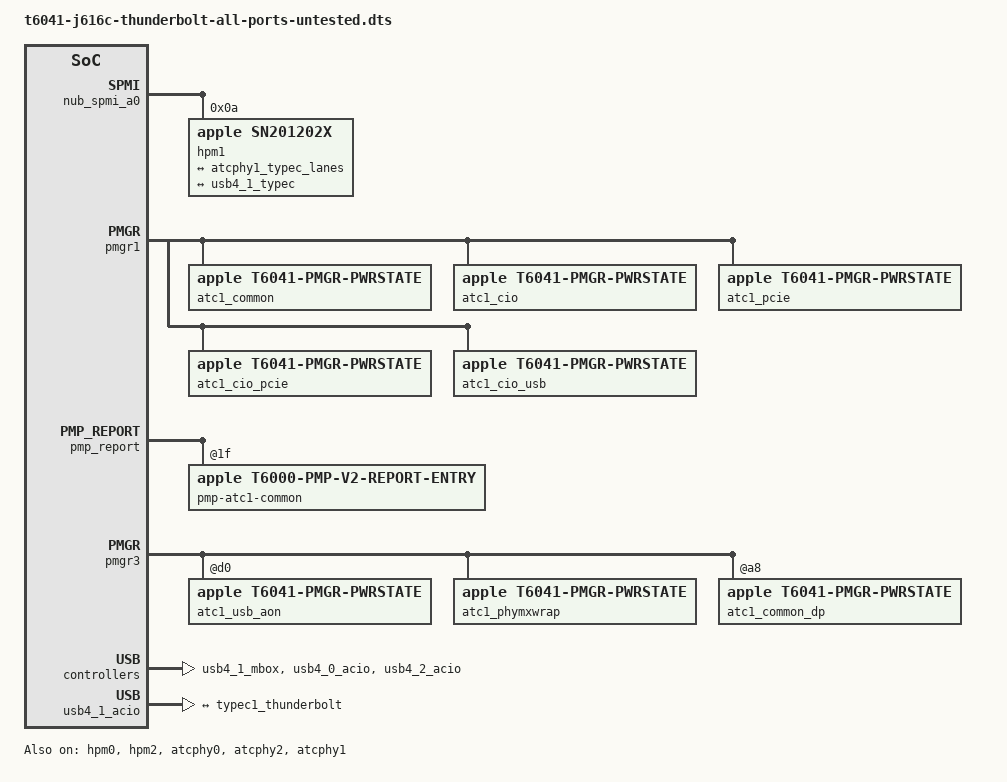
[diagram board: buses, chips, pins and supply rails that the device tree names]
// SPDX-License-Identifier: GPL-2.0+ OR MIT
/*
 * EXPERIMENTAL -- TOTALLY UNTESTED all-port Thunderbolt configuration.
 *
 * This complete DTB has NEVER been booted or hardware-validated. It enables
 * all three J616c USB-C ports, including the two ports not qualified by the
 * current Thunderbolt5 orientation/hotplug test. Controller1 resources are
 * transcribed from the captured J616c ADT; this is not runtime evidence.
 *
 * All ports are owned by Linux in this tree. No USB proxy/debug port is
 * reserved. PCIe and USB tunneling are NOT validated by this description.
 * Use t6041-j616c-usb4-validation.dtb for the tested right-port-only setup.
 * This opt-in file belongs ONLY to experimental-20261105-neo-max-bringup.
 */
#include "t6041-j616c.dts"
#include "t6041-usb4-right.dtsi"

/* Left-front Type-C controller shares NUB SPMI A0 with the left-rear port. */
&nub_spmi_a0 {
	hpm1: usb-pd@a {
		compatible = "apple,sn201202x";
		reg = <0xa SPMI_USID>;
		/* ADT: IRQ37, sleep43, wake45; select uses the same bank layout. */
		interrupts = <37 IRQ_TYPE_EDGE_RISING>,
			     <39 IRQ_TYPE_EDGE_RISING>,
			     <43 IRQ_TYPE_EDGE_RISING>,
			     <45 IRQ_TYPE_EDGE_RISING>;
		interrupt-names = "irq", "select", "sleep", "wake";
		status = "okay";

		typec1: connector {
			label = "USB-C Left-front (TOTALLY UNTESTED)";
			compatible = "usb-c-connector";
			power-role = "dual";
			data-role = "dual";
			try-power-role = "sink";
		};
	};
};

&pmgr1 {
	ps_atc1_common: power-controller@3b8 {
		compatible = "apple,t6041-pmgr-pwrstate", "apple,t8103-pmgr-pwrstate";
		reg = <0x3b8 4>;
		#power-domain-cells = <0>;
		#reset-cells = <0>;
		label = "atc1_common";
		power-domains = <&ps_fab2_soc>;
	};
};

&pmp_report {
	pmp_report_atc1: report@1f {
		compatible = "apple,t6000-pmp-v2-report-entry";
		reg = <31>;
		label = "pmp-atc1-common";
		/* The attached cable can leave PHYMXWRAP active in iBoot. */
		apple,boot-on;
		#power-domain-cells = <0>;
		power-domains = <&ps_atc1_common>;
	};
};

&pmgr3 {
	ps_atc1_usb_aon: power-controller@d0 {
		compatible = "apple,t6041-pmgr-pwrstate", "apple,t8103-pmgr-pwrstate";
		reg = <0xd0 4>;
		#power-domain-cells = <0>;
		#reset-cells = <0>;
		label = "atc1_usb_aon";
	};
	ps_atc1_phymxwrap: power-controller@158 {
		compatible = "apple,t6041-pmgr-pwrstate", "apple,t8103-pmgr-pwrstate";
		reg = <0x158 4>;
		#power-domain-cells = <0>;
		#reset-cells = <0>;
		label = "atc1_phymxwrap";
		power-domains = <&pmp_report_atc1>, <&ps_atc1_usb_aon>;
	};
	ps_atc1_common_dp: power-controller@a8 {
		compatible = "apple,t6041-pmgr-pwrstate", "apple,t8103-pmgr-pwrstate";
		reg = <0xa8 4>;
		#power-domain-cells = <0>;
		#reset-cells = <0>;
		label = "atc1_common_dp";
	};
};

&{/aliases} {
	atcphy1 = &atcphy1;
};

&{/soc} {
	acio_phy1_mbox: mailbox@38b148000 {
		compatible = "apple,t6041-asc-mailbox", "apple,asc-mailbox-v4";
		reg = <3 0x8b148000 0 0x4000>;
		interrupt-parent = <&aic>;
		interrupts = <AIC_IRQ 948 IRQ_TYPE_LEVEL_HIGH>,
			     <AIC_IRQ 949 IRQ_TYPE_LEVEL_HIGH>,
			     <AIC_IRQ 950 IRQ_TYPE_LEVEL_HIGH>,
			     <AIC_IRQ 951 IRQ_TYPE_LEVEL_HIGH>;
		interrupt-names = "send-empty", "send-not-empty",
				  "recv-empty", "recv-not-empty";
		#mbox-cells = <0>;
	};

	atcphy1: phy@38b000000 {
		compatible = "apple,t6040-atcphy";
		reg = <3 0x8b000000 0 0x30000>,
		      <3 0x8b200000 0 0x4000>,
		      <3 0x8b244000 0 0x4000>,
		      <3 0x8b250000 0 0x4000>,
		      <3 0x8b140000 0 0x4000>,
		      <3 0x8b0c0000 0 0x10000>;
		reg-names = "core", "power", "fabric", "common", "coproc", "sram";
		#phy-cells = <1>;
		mode-switch;
		orientation-switch;
		mboxes = <&acio_phy1_mbox>;
		power-domains = <&ps_atc1_usb_aon>, <&pmp_report_atc1>,
				<&ps_atc1_phymxwrap>, <&ps_atc1_common_dp>;
		port {
			atcphy1_typec_lanes: endpoint {
				remote-endpoint = <&typec1_connector_ss>;
			};
		};
	};
};

&typec1 {
	ports {
		#address-cells = <1>;
		#size-cells = <0>;
		port@1 {
			reg = <1>;
			typec1_connector_ss: endpoint {
				remote-endpoint = <&atcphy1_typec_lanes>;
			};
		};
	};
};

&pmgr1 {
	ps_atc1_cio: power-controller@3c0 {
		compatible = "apple,t6041-pmgr-pwrstate", "apple,t8103-pmgr-pwrstate";
		reg = <0x3c0 4>;
		#power-domain-cells = <0>;
		#reset-cells = <0>;
		label = "atc1_cio";
		power-domains = <&pmp_report_atc1>;
	};
	ps_atc1_pcie: power-controller@3c8 {
		compatible = "apple,t6041-pmgr-pwrstate", "apple,t8103-pmgr-pwrstate";
		reg = <0x3c8 4>;
		#power-domain-cells = <0>;
		#reset-cells = <0>;
		label = "atc1_pcie";
		power-domains = <&pmp_report_atc1>;
	};
	ps_atc1_cio_pcie: power-controller@3d0 {
		compatible = "apple,t6041-pmgr-pwrstate", "apple,t8103-pmgr-pwrstate";
		reg = <0x3d0 4>;
		#power-domain-cells = <0>;
		#reset-cells = <0>;
		label = "atc1_cio_pcie";
		power-domains = <&ps_atc1_cio>;
	};
	ps_atc1_cio_usb: power-controller@3d8 {
		compatible = "apple,t6041-pmgr-pwrstate", "apple,t8103-pmgr-pwrstate";
		reg = <0x3d8 4>;
		#power-domain-cells = <0>;
		#reset-cells = <0>;
		label = "atc1_cio_usb";
		power-domains = <&ps_atc1_cio>;
	};
};

&{/aliases} {
	usb4_1_rc = &usb4_1_acio;
	usb4_1_nhi = &usb4_1_nhi;
};

&{/soc} {

	usb4_1_mbox: mailbox@389108000 {
		compatible = "apple,t6041-asc-mailbox", "apple,asc-mailbox-v4";
		reg = <3 0x89108000 0 0x4000>;
		interrupt-parent = <&aic>;
		interrupts = <AIC_IRQ 944 IRQ_TYPE_LEVEL_HIGH>,
			     <AIC_IRQ 945 IRQ_TYPE_LEVEL_HIGH>,
			     <AIC_IRQ 946 IRQ_TYPE_LEVEL_HIGH>,
			     <AIC_IRQ 947 IRQ_TYPE_LEVEL_HIGH>;
		interrupt-names = "send-empty", "send-not-empty",
				  "recv-empty", "recv-not-empty";
		#mbox-cells = <0>;
	};
	usb4_1_acio: cio@389ac0000 {
		compatible = "apple,t6041-usb4-acio", "apple,t8103-usb4-acio";
		reg = <3 0x89ac0000 0 0xc000>, <3 0x89080000 0 0x20000>;
		reg-names = "rc", "sram";
		mboxes = <&usb4_1_mbox>;
		resets = <&cio_reset 1>;
		power-domains = <&ps_atc1_cio>, <&ps_atc1_cio_pcie>,
				<&ps_atc1_cio_usb>, <&ps_atc1_pcie>;
		pinctrl-0 = <&acio1_pins>;
		pinctrl-names = "default";
		thunderbolt-switch;
		#address-cells = <2>;
		#size-cells = <2>;
		ranges;
		nonposted-mmio;

		usb4_1_dart: iommu@389a80000 {
			compatible = "apple,t6041-dart", "apple,t8110-dart";
			reg = <3 0x89a80000 0 0xc000>;
			interrupt-parent = <&aic>;
			interrupts = <AIC_IRQ 1837 IRQ_TYPE_LEVEL_HIGH>;
			#iommu-cells = <1>;
			apple,dma-range = /bits/ 64 <0x10000000000 0x30000000000>;
		};
		usb4_1_nhi: nhi@389f00000 {
			compatible = "apple,t6041-usb4-nhi", "apple,t6040-usb4-nhi", "apple,t8103-usb4-nhi";
			/* CIO v2 has no separate PDF register aperture. */
			reg = <3 0x89f00000 0 0x100000>;
			reg-names = "nhi";
			interrupt-parent = <&aic>;
			interrupts = <AIC_IRQ 1810 IRQ_TYPE_LEVEL_HIGH>,
				<AIC_IRQ 1811 IRQ_TYPE_LEVEL_HIGH>,
				<AIC_IRQ 1812 IRQ_TYPE_LEVEL_HIGH>,
				<AIC_IRQ 1813 IRQ_TYPE_LEVEL_HIGH>,
				<AIC_IRQ 1814 IRQ_TYPE_LEVEL_HIGH>,
				<AIC_IRQ 1815 IRQ_TYPE_LEVEL_HIGH>,
				<AIC_IRQ 1816 IRQ_TYPE_LEVEL_HIGH>,
				<AIC_IRQ 1817 IRQ_TYPE_LEVEL_HIGH>,
				<AIC_IRQ 1818 IRQ_TYPE_LEVEL_HIGH>,
				<AIC_IRQ 1819 IRQ_TYPE_LEVEL_HIGH>,
				<AIC_IRQ 1820 IRQ_TYPE_LEVEL_HIGH>,
				<AIC_IRQ 1821 IRQ_TYPE_LEVEL_HIGH>,
				<AIC_IRQ 1822 IRQ_TYPE_LEVEL_HIGH>,
				<AIC_IRQ 1823 IRQ_TYPE_LEVEL_HIGH>,
				<AIC_IRQ 1824 IRQ_TYPE_LEVEL_HIGH>,
				<AIC_IRQ 1825 IRQ_TYPE_LEVEL_HIGH>,
				<AIC_IRQ 1826 IRQ_TYPE_LEVEL_HIGH>,
				<AIC_IRQ 1827 IRQ_TYPE_LEVEL_HIGH>,
				<AIC_IRQ 1828 IRQ_TYPE_LEVEL_HIGH>,
				<AIC_IRQ 1829 IRQ_TYPE_LEVEL_HIGH>,
				<AIC_IRQ 1830 IRQ_TYPE_LEVEL_HIGH>,
				<AIC_IRQ 1831 IRQ_TYPE_LEVEL_HIGH>,
				<AIC_IRQ 1832 IRQ_TYPE_LEVEL_HIGH>,
				<AIC_IRQ 1833 IRQ_TYPE_LEVEL_HIGH>;
			interrupt-names = "txring0",
				"txring1",
				"txring2",
				"txring3",
				"txring4",
				"txring5",
				"txring6",
				"txring7",
				"txring8",
				"txring9",
				"txring10",
				"txring11",
				"rxring0",
				"rxring1",
				"rxring2",
				"rxring3",
				"rxring4",
				"rxring5",
				"rxring6",
				"rxring7",
				"rxring8",
				"rxring9",
				"rxring10",
				"rxring11";
			iommus = <&usb4_1_dart 0>,
				<&usb4_1_dart 1>,
				<&usb4_1_dart 2>,
				<&usb4_1_dart 3>,
				<&usb4_1_dart 4>,
				<&usb4_1_dart 5>,
				<&usb4_1_dart 6>,
				<&usb4_1_dart 7>,
				<&usb4_1_dart 8>,
				<&usb4_1_dart 9>,
				<&usb4_1_dart 10>,
				<&usb4_1_dart 11>,
				<&usb4_1_dart 16>,
				<&usb4_1_dart 17>,
				<&usb4_1_dart 18>,
				<&usb4_1_dart 19>,
				<&usb4_1_dart 20>,
				<&usb4_1_dart 21>,
				<&usb4_1_dart 22>,
				<&usb4_1_dart 23>,
				<&usb4_1_dart 24>,
				<&usb4_1_dart 25>,
				<&usb4_1_dart 26>,
				<&usb4_1_dart 27>;
			apple,thunderbolt-drom = [00];
		};
	};
};

&pinctrl_aop {
	acio1_pins: acio0-pins {
		pinmux = <APPLE_PINMUX(51, 1)>;
	};
};

&typec1 {
	ports {
		port@2 {
			reg = <2>;
			typec1_thunderbolt: endpoint {
				remote-endpoint = <&usb4_1_typec>;
			};
		};
	};
};

&usb4_1_acio {
	ports {
		#address-cells = <1>;
		#size-cells = <0>;
		port@1 {
			reg = <1>;
			usb4_1_typec: endpoint {
				remote-endpoint = <&typec1_thunderbolt>;
			};
		};
	};
};

/* Explicitly enable all three controllers; this DTB is entirely untested. */
&hpm0 { status = "okay"; };
&hpm2 { status = "okay"; };
&atcphy0 { status = "okay"; };
&atcphy1 { status = "okay"; };
&atcphy2 { status = "okay"; };
&usb4_0_acio { status = "okay"; };
&usb4_1_acio { status = "okay"; };
&usb4_2_acio { status = "okay"; };
